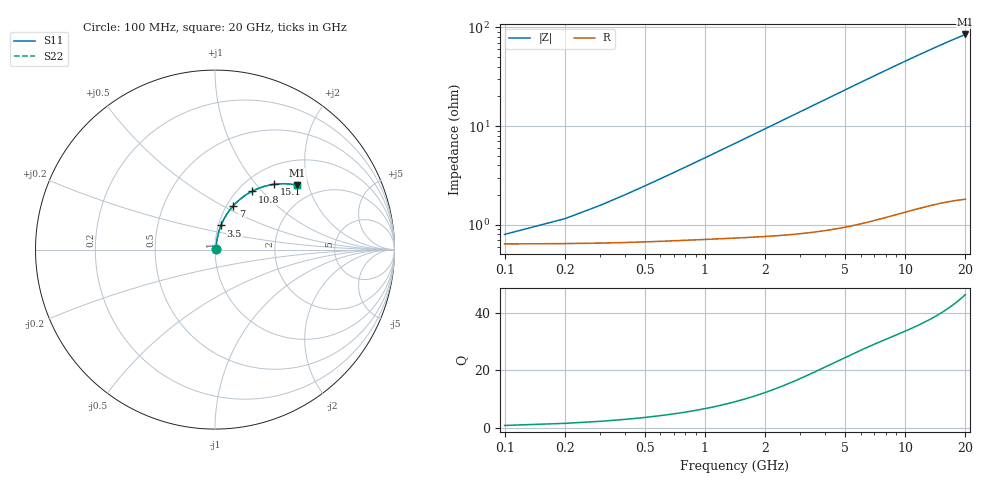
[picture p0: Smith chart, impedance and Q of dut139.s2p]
! Touchstone file exported from HFSS 2026.1.0
!  File:  C:/ffzhzh/LocalFiles/Ansys_Project_Files/temp_train_TMRDL_139_1782982914_41620.aedt
!  Generated:  05:03:08 PM Jul  2, 2026
!  Design:  TMRDL
!  Project:  temp_train_TMRDL_139_1782982914_41620
! Variables:
!  h_bsmrdl = 2um
!  h_ox = 20um
!  h_rdl = 5um
!  h_sub = 80um
!  h_tmrdl = 3.5um
!  h_tsv = 80um
!  h_via = 3um
!  l_bsmrdl = 300um
!  l_sub = 1054.75um
!  l_tmrdl = 654.75um
!  m_sub = 200um
!  pitch = 52.83um
!  r_tsv = 6um
!  s_tmrdl = 10um
!  w_bsmrdl = 18um
!  w_sub = 500um
!  w_tmrdl = 10.36um
!  x_tsv_center1 = 659.93um
!  x_tsv_center2 = 977.93um
!  x_tsv_center3 = 1643.04um
!  x_tsv_center4 = 1961.04um
!  x_tsv_center5 = 2626.15um
!  x_tsv_center6 = 2944.15um
# GHz S MA R 50.000000
! Terminal data exported
! Port[1] = TM_RDL1_1_T1
! Port[2] = TM_RDL1_1_T2
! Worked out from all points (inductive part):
!   200 points, 100 MHz to 20 GHz, reference 50 ohm
!   read as one part in series: L = 753 pH near 500 MHz
!   highest Q = 46.5 at 20 GHz (marker M1), where L = 672 pH
!   S11 on the Smith chart (normalised r, x): 100 MHz: 1.01, +0.01; 3.5 GHz: 1.03, +0.28; 7 GHz: 1.07, +0.57; 10.8 GHz: 1.16, +0.88; 15.1 GHz: 1.30, +1.25; 20 GHz: 1.57, +1.70
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0.1  0.007599 32.7  0.9936 -0.3  0.9936 -0.3  0.007599 32.7
! Gamma 0 0 0 0
! Port Impedance 50 0 50 0
0.3  0.01397 61.4  0.9934 -0.9  0.9934 -0.9  0.01397 61.4
0.4  0.01771 67.0  0.9933 -1.2  0.9933 -1.2  0.01772 67.0
0.5  0.02156 70.4  0.9931 -1.5  0.9931 -1.5  0.02156 70.4
0.6  0.02545 72.8  0.9929 -1.8  0.9929 -1.8  0.02545 72.8
0.8  0.03327 75.5  0.9925 -2.4  0.9925 -2.4  0.03327 75.5
1.1  0.04506 77.6  0.9919 -3.3  0.9919 -3.3  0.04506 77.6
1.5  0.0608 78.5  0.9909 -4.5  0.9909 -4.5  0.0608 78.5
2.1  0.08436 78.5  0.9889 -6.3  0.9889 -6.3  0.08436 78.5
2.7  0.1078 77.7  0.9864 -8.1  0.9864 -8.1  0.1078 77.7
3.5  0.1386 76.1  0.9821 -10.5  0.9821 -10.5  0.1386 76.1
4.2  0.1651 74.5  0.9776 -12.5  0.9776 -12.5  0.1651 74.5
5  0.1948 72.5  0.9717 -14.8  0.9717 -14.8  0.1948 72.5
6.8  0.2585 67.8  0.9556 -19.9  0.9556 -19.9  0.2585 67.8
7  0.2654 67.3  0.9536 -20.4  0.9536 -20.4  0.2654 67.3
8.5  0.3146 63.4  0.9378 -24.5  0.9378 -24.5  0.3146 63.4
10.1  0.3633 59.4  0.9193 -28.6  0.9193 -28.6  0.3633 59.4
10.8  0.3833 57.7  0.9108 -30.4  0.9108 -30.4  0.3833 57.7
13.4  0.4514 51.6  0.8785 -36.6  0.8785 -36.6  0.4514 51.6
15.1  0.4905 47.9  0.8572 -40.5  0.8572 -40.5  0.4905 47.9
16.7  0.5236 44.5  0.8374 -43.9  0.8374 -43.9  0.5236 44.5
20  0.5817 38.1  0.7985 -50.5  0.7985 -50.5  0.5817 38.1
